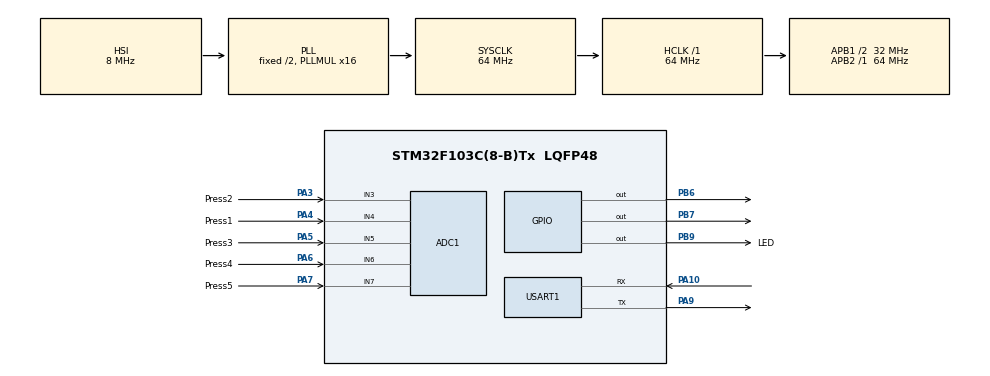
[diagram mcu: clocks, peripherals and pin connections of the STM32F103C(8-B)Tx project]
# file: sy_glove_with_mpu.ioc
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ADC1.Channel-0\#ChannelRegularConversion=ADC_CHANNEL_4
ADC1.Channel-1\#ChannelRegularConversion=ADC_CHANNEL_3
ADC1.Channel-2\#ChannelRegularConversion=ADC_CHANNEL_5
ADC1.Channel-3\#ChannelRegularConversion=ADC_CHANNEL_6
ADC1.Channel-4\#ChannelRegularConversion=ADC_CHANNEL_7
ADC1.ContinuousConvMode=DISABLE
ADC1.DataAlign=ADC_DATAALIGN_RIGHT
ADC1.DiscontinuousConvMode=DISABLE
ADC1.EnableAnalogWatchDog=false
ADC1.EnableRegularConversion=ENABLE
ADC1.ExternalTrigConv=ADC_SOFTWARE_START
ADC1.InjNumberOfConversion=0
ADC1.NbrOfConversion=5
ADC1.NbrOfConversionFlag=1
ADC1.Rank-0\#ChannelRegularConversion=1
ADC1.Rank-1\#ChannelRegularConversion=2
ADC1.Rank-2\#ChannelRegularConversion=3
ADC1.Rank-3\#ChannelRegularConversion=4
ADC1.Rank-4\#ChannelRegularConversion=5
ADC1.SamplingTime-0\#ChannelRegularConversion=ADC_SAMPLETIME_71CYCLES_5
ADC1.SamplingTime-1\#ChannelRegularConversion=ADC_SAMPLETIME_71CYCLES_5
ADC1.SamplingTime-2\#ChannelRegularConversion=ADC_SAMPLETIME_71CYCLES_5
ADC1.SamplingTime-3\#ChannelRegularConversion=ADC_SAMPLETIME_71CYCLES_5
ADC1.SamplingTime-4\#ChannelRegularConversion=ADC_SAMPLETIME_71CYCLES_5
ADC1.ScanConvMode=ADC_SCAN_ENABLE
ADC1.master=1
Dma.ADC1.1.Direction=DMA_PERIPH_TO_MEMORY
Dma.ADC1.1.Instance=DMA1_Channel1
Dma.ADC1.1.MemDataAlignment=DMA_MDATAALIGN_HALFWORD
Dma.ADC1.1.MemInc=DMA_MINC_ENABLE
Dma.ADC1.1.Mode=DMA_NORMAL
Dma.ADC1.1.PeriphDataAlignment=DMA_PDATAALIGN_HALFWORD
Dma.ADC1.1.PeriphInc=DMA_PINC_DISABLE
Dma.ADC1.1.Priority=DMA_PRIORITY_HIGH
Dma.Request0=USART1_RX
Dma.Request1=ADC1
Dma.USART1_RX.0.Direction=DMA_PERIPH_TO_MEMORY
Dma.USART1_RX.0.Instance=DMA1_Channel5
Dma.USART1_RX.0.MemDataAlignment=DMA_MDATAALIGN_BYTE
Dma.USART1_RX.0.MemInc=DMA_MINC_ENABLE
Dma.USART1_RX.0.Mode=DMA_NORMAL
Dma.USART1_RX.0.PeriphDataAlignment=DMA_PDATAALIGN_BYTE
Dma.USART1_RX.0.PeriphInc=DMA_PINC_DISABLE
Dma.USART1_RX.0.Priority=DMA_PRIORITY_HIGH
FREERTOS.Tasks01=defaultTask,0,128,StartDefaultTask,Default,NULL,Dynamic,NULL,NULL
FREERTOS.configTIMER_TASK_STACK_DEPTH=128
FREERTOS.configTOTAL_HEAP_SIZE=8960
FREERTOS.configUSE_TIMERS=1
Mcu.Family=STM32F1
Mcu.Name=STM32F103C(8-B)Tx
Mcu.Package=LQFP48
NVIC.ADC1_2_IRQn=true\:5\:0\:false\:false\:true\:true\:true\:true\:true
NVIC.DMA1_Channel1_IRQn=true\:5\:0\:false\:false\:true\:true\:false\:true\:true
NVIC.DMA1_Channel5_IRQn=true\:5\:0\:false\:false\:true\:true\:false\:true\:true
NVIC.PriorityGroup=NVIC_PRIORITYGROUP_4
NVIC.TIM1_UP_IRQn=true\:0\:0\:false\:false\:true\:false\:false\:true\:true
NVIC.TIM2_IRQn=true\:5\:0\:true\:false\:true\:true\:true\:true\:true
NVIC.TimeBase=TIM1_UP_IRQn
NVIC.TimeBaseIP=TIM1
NVIC.USART1_IRQn=true\:5\:0\:true\:false\:true\:true\:true\:true\:true
PA10.Mode=Asynchronous
PA10.Signal=USART1_RX
PA13.Mode=Serial_Wire
PA13.Signal=SYS_JTMS-SWDIO
PA14.Mode=Serial_Wire
PA14.Signal=SYS_JTCK-SWCLK
PA3.GPIO_Label=Press2
PA3.Signal=ADCx_IN3
PA4.GPIO_Label=Press1
PA4.Signal=ADCx_IN4
PA5.GPIO_Label=Press3
PA5.Signal=ADCx_IN5
PA6.GPIO_Label=Press4
PA6.Signal=ADCx_IN6
PA7.GPIO_Label=Press5
PA7.Signal=ADCx_IN7
PA9.Mode=Asynchronous
PA9.Signal=USART1_TX
PB6.GPIO_ModeDefaultOutputPP=GPIO_MODE_OUTPUT_OD
PB6.GPIO_Speed=GPIO_SPEED_FREQ_HIGH
PB6.PinState=GPIO_PIN_SET
PB6.Signal=GPIO_Output
PB7.GPIO_ModeDefaultOutputPP=GPIO_MODE_OUTPUT_OD
PB7.GPIO_Speed=GPIO_SPEED_FREQ_HIGH
PB7.PinState=GPIO_PIN_SET
PB7.Signal=GPIO_Output
PB9.GPIO_Label=LED
PB9.GPIO_Speed=GPIO_SPEED_FREQ_HIGH
PB9.PinState=GPIO_PIN_SET
PB9.Signal=GPIO_Output
ProjectManager.HeapSize=0x200
ProjectManager.StackSize=0x400
ProjectManager.TargetToolchain=Makefile
RCC.ADCPresc=RCC_ADCPCLK2_DIV6
RCC.AHBFreq_Value=64000000
RCC.APB1CLKDivider=RCC_HCLK_DIV2
RCC.APB1Freq_Value=32000000
RCC.APB1TimFreq_Value=64000000
RCC.APB2Freq_Value=64000000
RCC.APB2TimFreq_Value=64000000
RCC.HCLKFreq_Value=64000000
RCC.PLLMUL=RCC_PLL_MUL16
RCC.SYSCLKFreq_VALUE=64000000
RCC.SYSCLKSource=RCC_SYSCLKSOURCE_PLLCLK
RCC.USBFreq_Value=64000000
SH.ADCx_IN3.0=ADC1_IN3,IN3
SH.ADCx_IN4.0=ADC1_IN4,IN4
SH.ADCx_IN5.0=ADC1_IN5,IN5
SH.ADCx_IN6.0=ADC1_IN6,IN6
SH.ADCx_IN7.0=ADC1_IN7,IN7
TIM2.AutoReloadPreload=TIM_AUTORELOAD_PRELOAD_ENABLE
TIM2.Period=100
TIM2.Prescaler=7200-1
TIM3.Period=65535
TIM3.Prescaler=72-1
USART1.VirtualMode=VM_ASYNC
VP_FREERTOS_VS_CMSIS_V1.Mode=CMSIS_V1
VP_SYS_VS_tim1.Mode=TIM1
VP_TIM2_VS_ClockSourceINT.Mode=Internal
VP_TIM3_VS_ClockSourceINT.Mode=Internal
board=custom

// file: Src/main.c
/* USER CODE BEGIN Header */
/**
  ******************************************************************************
  * @file           : main.c
  * @brief          : Main program body
  ******************************************************************************
  * @attention
  *
  * <h2><center>&copy; Copyright (c) 2020 STMicroelectronics.
  * All rights reserved.</center></h2>
  *
  * This software component is licensed by ST under Ultimate Liberty license
  * SLA0044, the "License"; You may not use this file except in compliance with
  * the License. You may obtain a copy of the License at:
  *                             www.st.com/SLA0044
  *
  ******************************************************************************
  */
/* USER CODE END Header */

#include "main.h"
#include "cmsis_os.h"
#include "adc.h"
#include "dma.h"
#include "tim.h"
#include "usart.h"
#include "gpio.h"

/* USER CODE BEGIN Includes */
// #include "RTE_Components.h"
#ifdef RTE_Compiler_EventRecorder
	#include "EventRecorder.h"
#endif
/* USER CODE END Includes */

/* USER CODE BEGIN PV */
/* Private variables ---------------------------------------------------------*/

/* USER CODE END PV */

void SystemClock_Config(void);
void MX_FREERTOS_Init(void);
/* USER CODE BEGIN PFP */
/* Private function prototypes -----------------------------------------------*/

/* USER CODE END PFP */

int main(void)
{
  /* USER CODE BEGIN 1 */
	#ifdef RTE_Compiler_EventRecorder
	EventRecorderInitialize(EventRecordAll, 1U);
	EventRecorderStart();
	#endif

  /* USER CODE END 1 */

  /* MCU Configuration--------------------------------------------------------*/

  /* Reset of all peripherals, Initializes the Flash interface and the Systick. */
  HAL_Init();

  /* Configure the system clock */
  SystemClock_Config();

  /* Initialize all configured peripherals */
  MX_GPIO_Init();
  MX_DMA_Init();
  MX_TIM2_Init();
  MX_USART1_UART_Init();
  MX_ADC1_Init();
  MX_TIM3_Init();
  /* USER CODE BEGIN 2 */
	HAL_TIM_Base_Start_IT(&htim2);

  /* USER CODE END 2 */

  /* Call init function for freertos objects (in freertos.c) */
  MX_FREERTOS_Init();
  /* Start scheduler */
  osKernelStart();

  /* We should never get here as control is now taken by the scheduler */
  /* Infinite loop */
  while (1)
  {

    /* USER CODE BEGIN 3 */
		HAL_GPIO_TogglePin(LED_GPIO_Port, LED_Pin);
		HAL_Delay(100);

  }
  /* USER CODE END 3 */
}

void SystemClock_Config(void)
{
  RCC_OscInitTypeDef RCC_OscInitStruct = {0};
  RCC_ClkInitTypeDef RCC_ClkInitStruct = {0};
  RCC_PeriphCLKInitTypeDef PeriphClkInit = {0};

  /** Initializes the CPU, AHB and APB busses clocks
  */
  RCC_OscInitStruct.OscillatorType = RCC_OSCILLATORTYPE_HSI;
  RCC_OscInitStruct.HSIState = RCC_HSI_ON;
  RCC_OscInitStruct.HSICalibrationValue = RCC_HSICALIBRATION_DEFAULT;
  RCC_OscInitStruct.PLL.PLLState = RCC_PLL_ON;
  RCC_OscInitStruct.PLL.PLLSource = RCC_PLLSOURCE_HSI_DIV2;
  RCC_OscInitStruct.PLL.PLLMUL = RCC_PLL_MUL16;
  if (HAL_RCC_OscConfig(&RCC_OscInitStruct) != HAL_OK)
  {
    Error_Handler();
  }
  /** Initializes the CPU, AHB and APB busses clocks
  */
  RCC_ClkInitStruct.ClockType = RCC_CLOCKTYPE_HCLK|RCC_CLOCKTYPE_SYSCLK
                              |RCC_CLOCKTYPE_PCLK1|RCC_CLOCKTYPE_PCLK2;
  RCC_ClkInitStruct.SYSCLKSource = RCC_SYSCLKSOURCE_PLLCLK;
  RCC_ClkInitStruct.AHBCLKDivider = RCC_SYSCLK_DIV1;
  RCC_ClkInitStruct.APB1CLKDivider = RCC_HCLK_DIV2;
  RCC_ClkInitStruct.APB2CLKDivider = RCC_HCLK_DIV1;

  if (HAL_RCC_ClockConfig(&RCC_ClkInitStruct, FLASH_LATENCY_2) != HAL_OK)
  {
    Error_Handler();
  }
  PeriphClkInit.PeriphClockSelection = RCC_PERIPHCLK_ADC;
  PeriphClkInit.AdcClockSelection = RCC_ADCPCLK2_DIV6;
  if (HAL_RCCEx_PeriphCLKConfig(&PeriphClkInit) != HAL_OK)
  {
    Error_Handler();
  }
}

 /**
  * @brief  Period elapsed callback in non blocking mode
  * @note   This function is called  when TIM1 interrupt took place, inside
  * HAL_TIM_IRQHandler(). It makes a direct call to HAL_IncTick() to increment
  * a global variable "uwTick" used as application time base.
  * @param  htim : TIM handle
  * @retval None
  */
void HAL_TIM_PeriodElapsedCallback(TIM_HandleTypeDef *htim)
{
  if (htim->Instance == TIM1) {
    HAL_IncTick();
  }
  /* USER CODE BEGIN Callback 1 */
	else if(htim->Instance == TIM2)
	{
		HAL_ADC_Start_DMA(&hadc1, (uint32_t*)ADC_Original_Value, 5);
	}

  /* USER CODE END Callback 1 */
}

void Error_Handler(void)
{
  while(1)
  {
  }
}

/************************ (C) COPYRIGHT STMicroelectronics *****END OF FILE****/

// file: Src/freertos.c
/* USER CODE BEGIN Header */
/**
  ******************************************************************************
  * File Name          : freertos.c
  * Description        : Code for freertos applications
  ******************************************************************************
  * This notice applies to any and all portions of this file
  * that are not between comment pairs USER CODE BEGIN and
  * USER CODE END. Other portions of this file, whether
  * inserted by the user or by software development tools
  * are owned by their respective copyright owners.
  *
  * Copyright (c) 2019 STMicroelectronics International N.V.
  * All rights reserved.
  *
  * Redistribution and use in source and binary forms, with or without
  * modification, are permitted, provided that the following conditions are met:
  *
  * 1. Redistribution of source code must retain the above copyright notice,
  *    this list of conditions and the following disclaimer.
  * 2. Redistributions in binary form must reproduce the above copyright notice,
  *    this list of conditions and the following disclaimer in the documentation
  *    and/or other materials provided with the distribution.
  * 3. Neither the name of STMicroelectronics nor the names of other
  *    contributors to this software may be used to endorse or promote products
  *    derived from this software without specific written permission.
  * 4. This software, including modifications and/or derivative works of this
  *    software, must execute solely and exclusively on microcontroller or
  *    microprocessor devices manufactured by or for STMicroelectronics.
  * 5. Redistribution and use of this software other than as permitted under
  *    this license is void and will automatically terminate your rights under
  *    this license.
  *
  * THIS SOFTWARE IS PROVIDED BY STMICROELECTRONICS AND CONTRIBUTORS "AS IS"
  * AND ANY EXPRESS, IMPLIED OR STATUTORY WARRANTIES, INCLUDING, BUT NOT
  * LIMITED TO, THE IMPLIED WARRANTIES OF MERCHANTABILITY, FITNESS FOR A
  * PARTICULAR PURPOSE AND NON-INFRINGEMENT OF THIRD PARTY INTELLECTUAL PROPERTY
  * RIGHTS ARE DISCLAIMED TO THE FULLEST EXTENT PERMITTED BY LAW. IN NO EVENT
  * SHALL STMICROELECTRONICS OR CONTRIBUTORS BE LIABLE FOR ANY DIRECT, INDIRECT,
  * INCIDENTAL, SPECIAL, EXEMPLARY, OR CONSEQUENTIAL DAMAGES (INCLUDING, BUT NOT
  * LIMITED TO, PROCUREMENT OF SUBSTITUTE GOODS OR SERVICES; LOSS OF USE, DATA,
  * OR PROFITS; OR BUSINESS INTERRUPTION) HOWEVER CAUSED AND ON ANY THEORY OF
  * LIABILITY, WHETHER IN CONTRACT, STRICT LIABILITY, OR TORT (INCLUDING
  * NEGLIGENCE OR OTHERWISE) ARISING IN ANY WAY OUT OF THE USE OF THIS SOFTWARE,
  * EVEN IF ADVISED OF THE POSSIBILITY OF SUCH DAMAGE.
  *
  ******************************************************************************
  */
/* USER CODE END Header */

#include "FreeRTOS.h"
#include "task.h"
#include "main.h"
#include "cmsis_os.h"

/* USER CODE BEGIN Includes */
#include "stm32f1xx_hal.h"
#include "usart.h"
#include "thread_of_host_connect.h"
#include "thread_of_sensor_calibration.h"

#include "MPL_task.h"

/* USER CODE END Includes */

/* USER CODE BEGIN PD */
extern void thread_of_sensor_calibration(void const *argument);
/* USER CODE END PD */

osThreadId defaultTaskHandle;

void StartDefaultTask(void const * argument);

void MX_FREERTOS_Init(void); /* (MISRA C 2004 rule 8.1) */

/* GetIdleTaskMemory prototype (linked to static allocation support) */
void vApplicationGetIdleTaskMemory( StaticTask_t **ppxIdleTaskTCBBuffer, StackType_t **ppxIdleTaskStackBuffer, uint32_t *pulIdleTaskStackSize );

/* GetTimerTaskMemory prototype (linked to static allocation support) */
void vApplicationGetTimerTaskMemory( StaticTask_t **ppxTimerTaskTCBBuffer, StackType_t **ppxTimerTaskStackBuffer, uint32_t *pulTimerTaskStackSize );

/* USER CODE BEGIN GET_IDLE_TASK_MEMORY */
static StaticTask_t xIdleTaskTCBBuffer;
static StackType_t xIdleStack[configMINIMAL_STACK_SIZE];

void vApplicationGetIdleTaskMemory( StaticTask_t **ppxIdleTaskTCBBuffer, StackType_t **ppxIdleTaskStackBuffer, uint32_t *pulIdleTaskStackSize )
{
  *ppxIdleTaskTCBBuffer = &xIdleTaskTCBBuffer;
  *ppxIdleTaskStackBuffer = &xIdleStack[0];
  *pulIdleTaskStackSize = configMINIMAL_STACK_SIZE;
  /* place for user code */
}
/* USER CODE END GET_IDLE_TASK_MEMORY */

/* USER CODE BEGIN GET_TIMER_TASK_MEMORY */
static StaticTask_t xTimerTaskTCBBuffer;
static StackType_t xTimerStack[configTIMER_TASK_STACK_DEPTH];

void vApplicationGetTimerTaskMemory( StaticTask_t **ppxTimerTaskTCBBuffer, StackType_t **ppxTimerTaskStackBuffer, uint32_t *pulTimerTaskStackSize )
{
  *ppxTimerTaskTCBBuffer = &xTimerTaskTCBBuffer;
  *ppxTimerTaskStackBuffer = &xTimerStack[0];
  *pulTimerTaskStackSize = configTIMER_TASK_STACK_DEPTH;
  /* place for user code */
}
/* USER CODE END GET_TIMER_TASK_MEMORY */

void MX_FREERTOS_Init(void) {

  /* Create the thread(s) */
  /* definition and creation of defaultTask */
  osThreadDef(defaultTask, StartDefaultTask, osPriorityNormal, 0, 128);
  defaultTaskHandle = osThreadCreate(osThread(defaultTask), NULL);

  /* USER CODE BEGIN RTOS_THREADS */
  /* add threads, ... */

	init_MPL_task();

	if(init_thread_of_host_uart_tx())
	{
		for(;;);
	}

	if(init_thread_of_host_uart_rx())
	{
		for(;;);
	}

	if(init_thread_of_sensor_calibration())
	{
		for(;;);
	}

  /* USER CODE END RTOS_THREADS */

}
#include "protocol.h"
void StartDefaultTask(void const * argument)
{
  /* USER CODE BEGIN StartDefaultTask */
  /* Infinite loop */
  for(;;)
  {
//		HAL_GPIO_TogglePin(LED_GPIO_Port, LED_Pin);
		// uint8_t string[] = "hello\r\n";
		// HAL_UART_Transmit(&huart1, string, sizeof(string), 10);

      // int32_t data_temp[2];
			// 	data_temp[0] = 700;
			// 	data_temp[1] = 200;
			// 	int32_t TEMP_T = 50;
			// 	set_computer_value(SEND_PERIOD_CMD,CURVES_CH1,&TEMP_T,1);
			// 	set_computer_value(SEND_START_CMD,NULL,START_CMD,0);

      //   set_computer_value(SET_TARGET_CMD,CURVES_CH2,&data_temp[1],1);
			// 	set_computer_value(SEND_FACT_CMD,CURVES_CH2,&data_temp[1],1);

      //   set_computer_value(SEND_TARGET_CMD,CURVES_CH1,&data_temp[0],1);
			// 	set_computer_value(SEND_FACT_CMD,CURVES_CH1,&data_temp[0],1);

    osDelay(100);
//		user_signal_info_t timer_arg = {osThreadGetId(), SIG_USER_TIMER};
//		osTimerDef(myTimer01, Callback01);
//		myTimer01Handle = osTimerCreate(osTimer(myTimer01), osTimerPeriodic, &timer_arg);
//		osTimerStart(myTimer01Handle, 50);
//		for(;;)
//		{
//			osSignalWait(SIG_USER_TIMER, osWaitForever);
			HAL_GPIO_TogglePin(LED_GPIO_Port, LED_Pin);
//		}
  }
  /* USER CODE END StartDefaultTask */
}

/************************ (C) COPYRIGHT STMicroelectronics *****END OF FILE****/
